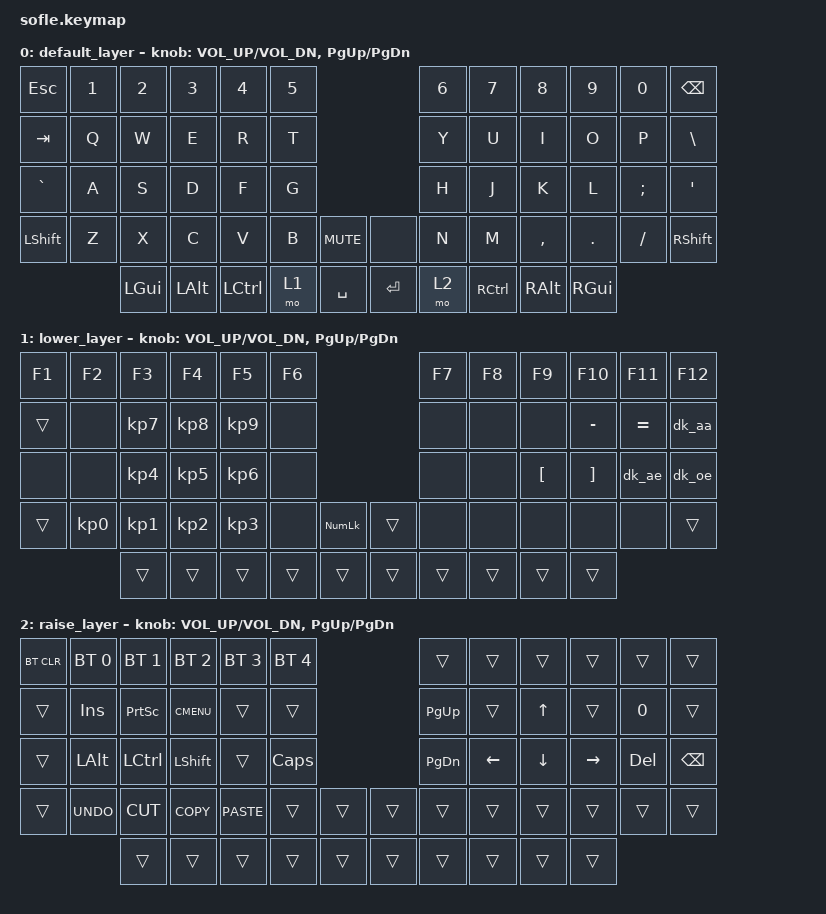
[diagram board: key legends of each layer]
/*
 * Copyright (c) 2020 The ZMK Contributors
 *
 * SPDX-License-Identifier: MIT
 */

 #include <behaviors.dtsi>
 #include <dt-bindings/zmk/keys.h>
 #include <dt-bindings/zmk/bt.h>
 
 / {
     
     
    macros {
        dk_ae_lower: dk_ae_lower {
            compatible = "zmk,behavior-macro";
            #binding-cells = <0>;
            wait-ms = <40>;
            tap-ms = <40>;
            bindings
                = <&macro_press &kp LALT>
                // æ	Alt 145 or Alt 0230	Latin small letter ae, ae ligature, ash (from Old English æsc)
                , <&macro_tap &kp KP_N1 &kp KP_N4 &kp KP_N5>
                , <&macro_release &kp LALT>;
        };
        dk_ae_upper: dk_ae_upper {
            compatible = "zmk,behavior-macro";
            #binding-cells = <0>;
            wait-ms = <40>;
            tap-ms = <40>;
            bindings
                = <&macro_press &kp LALT>
                // Æ	Alt 146 or Alt 0198	Latin capital letter AE, AE ligature
                , <&macro_tap &kp KP_N1 &kp KP_N4 &kp KP_N6>
                , <&macro_release &kp LALT>;
        };
        dk_oe_lower: dk_oe_lower {
            compatible = "zmk,behavior-macro";
            wait-ms = <40>;
            tap-ms = <40>;
            #binding-cells = <0>;
                bindings
                = <&macro_press &kp LALT>
                // ø	Alt 0248	Latin small letter o with stroke, slashed o
                , <&macro_tap &kp KP_N0 &kp KP_N2 &kp KP_N4 &kp KP_N8>
                , <&macro_release &kp LALT>;
        };
        dk_oe_upper: dk_oe_upper {
            compatible = "zmk,behavior-macro";
            #binding-cells = <0>;
            wait-ms = <40>;
            tap-ms = <40>;
            bindings
                = <&macro_press &kp LALT>
                // Ø	Alt 0216	Latin capital letter O with stroke, slashed O
                , <&macro_tap &kp KP_N0 &kp KP_N2 &kp KP_N1 &kp KP_N6>
                , <&macro_release &kp LALT>;
        };
        dk_aa_lower: dk_aa_lower {
            compatible = "zmk,behavior-macro";
            #binding-cells = <0>;
            wait-ms = <40>;
            tap-ms = <40>;
            bindings
                = <&macro_press &kp LALT>
                // å	Alt 134 or Alt 0229
                , <&macro_tap &kp KP_N1 &kp KP_N3 &kp KP_N4>
                , <&macro_release &kp LALT>;
        };
        dk_aa_upper: dk_aa_upper {
            compatible = "zmk,behavior-macro";
            #binding-cells = <0>;
            wait-ms = <40>;
            tap-ms = <40>;
            bindings
                = <&macro_press &kp LALT>
                // Å	Alt 143 or Alt 0197	Latin capital letter A with ring above
                , <&macro_tap &kp KP_N1 &kp KP_N4 &kp KP_N3>
                , <&macro_release &kp LALT>;
        };
    };
    behaviors {
        dk_ae: dk_ae {
            compatible = "zmk,behavior-mod-morph";
            #binding-cells = <0>;
            bindings = <&dk_ae_lower>, <&dk_ae_upper>;
            mods = <(MOD_LSFT|MOD_RSFT)>;
        };
        dk_oe: dk_oe {
            compatible = "zmk,behavior-mod-morph";
            #binding-cells = <0>;
            bindings = <&dk_oe_lower>, <&dk_oe_upper>;
            mods = <(MOD_LSFT|MOD_RSFT)>;
        };
        dk_aa: dk_aa {
            compatible = "zmk,behavior-mod-morph";
            #binding-cells = <0>;
            bindings = <&dk_aa_lower>, <&dk_aa_upper>;
            mods = <(MOD_LSFT|MOD_RSFT)>;
        };
    };

    keymap {
        compatible = "zmk,keymap";
 
        default_layer {
 // ------------------------------------------------------------------------------------------------------------
 // | ESC |  1  |  2     |  3     |  4      |  5   |                    |  6    |  7     |  8      |  9      |   0    | BKSPC |
 // | TAB |  Q  |  W     |  E     |  R      |  T   |                    |  Y    |  U     |  I      |  O      |   P    |   \   |
 // | `   |  A  |  S     |  D     |  F      |  G   |                    |  H    |  J     |  K      |  L      |   ;    |   '   |
 // |SHIFT|  Z  |  X     |  C     |  V      |  B   | MUTE   | |         |  N    |  M     |  ,      |  .      |   /    | SHIFT |
 //             | GUI    | ALT    | CTRL    | LOWER| SPACE  | | ENTER   | RAISE | CTRL   | ALT     | GUI     |
            bindings = <
&kp ESC   &kp N1 &kp N2   &kp N3   &kp N4    &kp N5                       &kp N6 &kp N7    &kp N8    &kp N9   &kp N0   &kp BSPC
&kp TAB   &kp Q  &kp W    &kp E    &kp R     &kp T                        &kp Y  &kp U     &kp I     &kp O    &kp P    &kp BSLH
&kp GRAVE &kp A  &kp S    &kp D    &kp F     &kp G                        &kp H  &kp J     &kp K     &kp L    &kp SEMI &kp SQT
&kp LSHFT &kp Z  &kp X    &kp C    &kp V     &kp B  &kp C_MUTE &none      &kp N  &kp M     &kp COMMA &kp DOT  &kp FSLH &kp RSHFT
                  &kp LGUI &kp LALT &kp LCTRL &mo 1  &kp SPACE  &kp RET    &mo 2  &kp RCTRL &kp RALT  &kp RGUI
            >;

            sensor-bindings = <&inc_dec_kp C_VOL_UP C_VOL_DN &inc_dec_kp PG_UP PG_DN>;
        };

        lower_layer {
// TODO: ADD home, end, page up, page down, delete, screenshot, capslock, arrow keys, keypads
// ------------------------------------------------------------------------------------------------------------
// |  F   |  F2   |  F3     |  F4       |  F5     |  F6    |                   |  F7     |  F8    |  F9      |  F10    |  F11     |  F12  |
// |      |       |  7      |  8        |  9      |        |                   |         |        |          |   -     |    =     |   Å   |
// |      |       |  4      |  5        |  6      |        |                   |         |        |  [       |   ]     |   Æ      |   Ø   |
// |      |  0    |  1      |  2        |  3      |        | nlk    | |        |         |        |          |         |          |       |
//                |         |           |         |        |        | |        |         |        |          |         |
            bindings = <
&kp F1    &kp F2    &kp F3    &kp F4      &kp F5    &kp F6                      &kp F7    &kp F8   &kp F9    &kp F10   &kp F11   &kp F12
&trans    &none     &kp KP_N7 &kp KP_N8   &kp KP_N9 &none                       &none     &none    &none     &kp MINUS &kp EQUAL &dk_aa
&none     &none     &kp KP_N4 &kp KP_N5   &kp KP_N6 &none                       &none     &none    &kp LBKT  &kp RBKT  &dk_ae    &dk_oe
&trans    &kp KP_N0 &kp KP_N1 &kp KP_N2   &kp KP_N3 &none &kp KP_NUMLOCK &trans &none     &none    &none     &none     &none     &trans
                    &trans    &trans      &trans    &trans &trans        &trans &trans    &trans   &trans    &trans
            >;
            
            sensor-bindings = <&inc_dec_kp C_VOL_UP C_VOL_DN &inc_dec_kp PG_UP PG_DN>;
        };
        raise_layer { 
// ------------------------------------------------------------------------------------------------------------
// |BTCLR| BT1  | BT2  |  BT3  |  BT4  |  BT5 |                |      |      |       |      |       |       |
// |     | INS  | PSCR | GUI   |       |      |                | PGUP |      |   ^   |      |       |       |
// |     | ALT  | CTRL | SHIFT |       | CAPS |                | PGDN |   <- |   v   |  ->  |  DEL  | BKSPC |
// |     | UNDO | CUT  | COPY  | PASTE |      |      |  |      |      |      |       |      |       |       |
//              |      |       |       |      |      |  |      |      |      |       |      |
            bindings = <
&bt BT_CLR &bt BT_SEL 0 &bt BT_SEL 1 &bt BT_SEL 2 &bt BT_SEL 3 &bt BT_SEL 4             &trans    &trans    &trans   &trans    &trans  &trans
&trans     &kp INS      &kp PSCRN    &kp K_CMENU  &trans       &trans                   &kp PG_UP &trans    &kp UP   &trans    &kp N0  &trans
&trans     &kp LALT     &kp LCTRL    &kp LSHFT    &trans       &kp CLCK                 &kp PG_DN &kp LEFT  &kp DOWN &kp RIGHT &kp DEL &kp BSPC
&trans     &kp K_UNDO   &kp K_CUT    &kp K_COPY   &kp K_PASTE  &trans  &trans   &trans  &trans    &trans    &trans   &trans    &trans  &trans
                        &trans       &trans       &trans       &trans  &trans   &trans  &trans    &trans    &trans   &trans
            >;

            sensor-bindings = <&inc_dec_kp C_VOL_UP C_VOL_DN &inc_dec_kp PG_UP PG_DN>;
        };
    };
};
